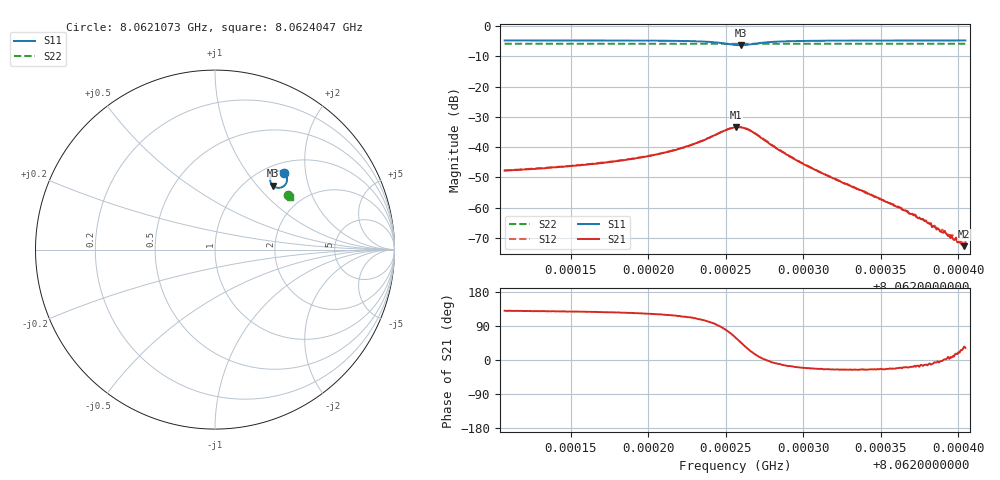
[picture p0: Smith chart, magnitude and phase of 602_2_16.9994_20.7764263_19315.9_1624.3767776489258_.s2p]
#  HZ  S  RI  R  50.00
! Rohde & Schwarz Vector Network Analyzer
! Rohde-Schwarz,ZNB20-2Port,1311601062101988,3.16
! Created: UTC 3/20/2024, 11:19:04 PM
! freq[Hz]  re:S11  im:S11  re:S21  im:S21  re:S12  im:S12  re:S22  im:S22
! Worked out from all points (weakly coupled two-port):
!   401 points, 8.0621073 GHz to 8.0624047 GHz, reference 50 ohm
!   highest |S21| = -33.38 dB at 8.0622568 GHz (marker M1); lowest = -72.7 dB at 8.0624039 GHz (marker M2)
!   lowest |S11| = -6.4 dB at 8.0622597 GHz (marker M3), VSWR 2.85, Z = 65.5 + j60.7 ohm
!   |S11| at or under -10 dB: nowhere
!   |S22| runs from -6.0 to -5.9 dB; largest |S21 - S12| = 0.0013
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8.06210734e9  0.3846 0.4287  -0.00264 0.00315  -0.00248 0.00334  0.4066 0.3057
8.06215715e9  0.39 0.4227  -0.0031 0.00403  -0.00286 0.00424  0.4084 0.303
8.06218465e9  0.394 0.417  -0.0035 0.00504  -0.00325 0.00527  0.4095 0.3012
8.06220695e9  0.3982 0.4089  -0.00393 0.00666  -0.00355 0.00695  0.4103 0.2998
8.06222702e9  0.4015 0.3936  -0.00416 0.00988  -0.00348 0.0101  0.4109 0.298
8.06224486e9  0.3904 0.3605  -0.000512 0.0167  0.000468 0.0167  0.4105 0.2957
8.06225601e9  0.3423 0.3453  0.0105 0.0185  0.0116 0.0181  0.4085 0.2952
8.06225675e9  0.3379 0.3468  0.0115 0.0181  0.0125 0.0175  0.4083 0.2953
8.06225973e9  0.3217 0.3568  0.0147 0.0154  0.0156 0.0147  0.4079 0.296
8.06226642e9  0.3071 0.3934  0.017 0.00702  0.0175 0.00606  0.408 0.2974
8.06227682e9  0.3255 0.4284  0.0122 -0.000269  0.0124 -0.00107  0.4097 0.2982
8.06228946e9  0.3472 0.4377  0.00722 -0.00198  0.00711 -0.00231  0.4112 0.2978
8.06230581e9  0.3625 0.4375  0.00415 -0.00169  0.00407 -0.00193  0.4125 0.2967
8.06235562e9  0.3794 0.4314  0.00111 -0.000466  0.00106 -0.000542  0.4147 0.2937
8.06238089e9  0.3835 0.4289  0.000543 -0.000106  0.00055 -0.000146  0.4157 0.2925
8.06238461e9  0.384 0.4285  0.00048 -5.04e-05  0.000499 -0.000101  0.4158 0.2923
8.06238907e9  0.3846 0.4281  0.000401 -1.73e-05  0.000418 -5.48e-05  0.4161 0.2919
8.06239278e9  0.3849 0.4279  0.00036 2.53e-05  0.000363 1.17e-05  0.4161 0.292
8.06239724e9  0.3855 0.4275  0.000292 4.49e-05  0.000309 -3.49e-06  0.4163 0.2916
8.06240096e9  0.386 0.4271  0.000254 9.04e-05  0.000253 6.89e-05  0.4164 0.2913
8.06240393e9  0.3862 0.427  0.000189 0.000136  0.000266 9.94e-05  0.4164 0.2912
8.06240468e9  0.3863 0.4268  0.000229 0.000144  0.000236 0.000156  0.4166 0.2912
